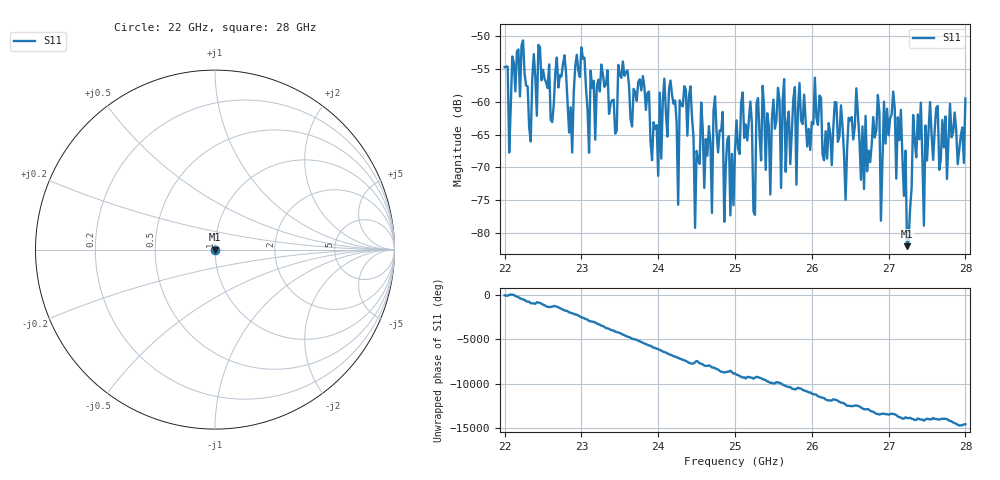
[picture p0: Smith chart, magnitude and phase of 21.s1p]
#  HZ  S  RI  R  50.00
! Rohde & Schwarz ZVA40 4Ports - Version 3.90 - 1145.1110k42 SN: 100403
! Date: 2023-10-04 08:10:44
! Measurement: S12
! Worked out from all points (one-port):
!   301 points, 22 GHz to 28 GHz, reference 50 ohm
!   lowest |S11| = -82.1 dB at 27.24 GHz (marker M1), VSWR 1.00, Z = 50 - j0.00172 ohm
!   |S11| at or under -10 dB: start of sweep to end of sweep
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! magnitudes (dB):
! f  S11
! 22 GHz  -54.7
! 22.76 GHz  -54.2
! 22.88 GHz  -67.7
! 22.94 GHz  -52.8
! 23.5 GHz  -55.9
! 24 GHz  -71.3
! 24.16 GHz  -56.7
! 24.26 GHz  -75.7
! 24.34 GHz  -57.6
! 24.48 GHz  -79.3
! 24.56 GHz  -60.1
! 24.7 GHz  -77.0
! 24.74 GHz  -59.2
! 24.84 GHz  -61.5
! 24.86 GHz  -78.3
! 25 GHz  -67.4
! 25.76 GHz  -59.5
! 26.5 GHz  -62.9
! 26.86 GHz  -58.9
! 26.9 GHz  -78.2
! 27.06 GHz  -58.4
! 27.24 GHz  -82.1
! 27.26 GHz  -81.3
! 27.32 GHz  -62.0
! 27.42 GHz  -60.1
! 27.46 GHz  -78.9
! 27.54 GHz  -60.0
! 28 GHz  -59.5
